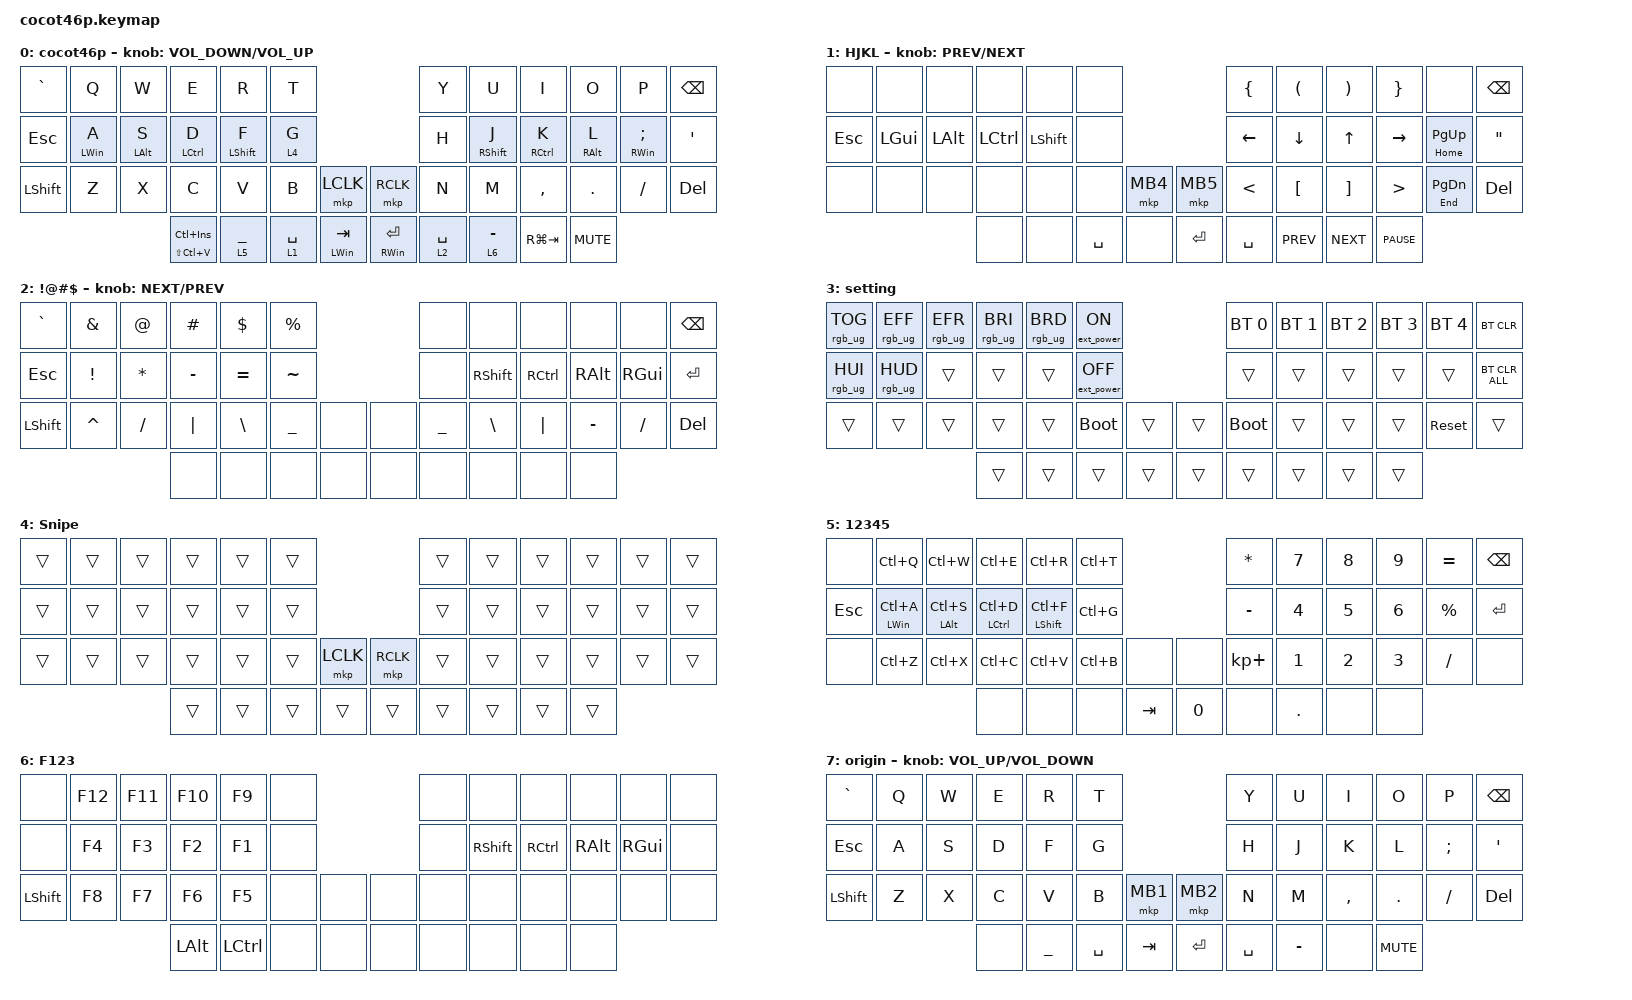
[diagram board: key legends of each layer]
/*
 * Copyright (c) 2021 The ZMK Contributors
 *
 * SPDX-License-Identifier: MIT
 */

#include <behaviors/mouse_keys.dtsi>
#include <dt-bindings/zmk/mouse.h>
#include <behaviors.dtsi>
#include <dt-bindings/zmk/bt.h>
#include <dt-bindings/zmk/ext_power.h>
#include <dt-bindings/zmk/keys.h>
#include <dt-bindings/zmk/pointing.h>
#include <dt-bindings/zmk/rgb.h>

&lt { tapping-term-ms = <150>; };

/ {
    combos {
        compatible = "zmk,combos";

        combo_setting {
            bindings = <&tog 3>;
            key-positions = <37 36 25 24>;
        };

        combo_ctrl_space {
            bindings = <&kp LC(F9)>;
            key-positions = <40 43>;
            layers = <0>;
        };

        combo_f8 {
            bindings = <&kp F8>;
            key-positions = <41 42>;
            layers = <0>;
        };

        combo_colon {
            bindings = <&kp COLON>;
            key-positions = <16 22>;
            layers = <0>;
        };

        combo_left_bracket_quotation {
            bindings = <&macro_bracket_and_quotation>;
            key-positions = <14 16>;
            layers = <0>;
            timeout-ms = <50>;
        };

        combo_quotation_right_bracket {
            bindings = <&macro_quotation_and_bracket>;
            key-positions = <19 21>;
            layers = <0>;
            timeout-ms = <50>;
        };

        combo_arraw {
            bindings = <&macro_arraw>;
            key-positions = <16 15>;
            layers = <2>;
            timeout-ms = <50>;
        };

        combo_arraw_eq {
            bindings = <&macro_arraw_eq>;
            key-positions = <4 3>;
            layers = <2>;
            timeout-ms = <50>;
        };

        combo_alt_shift_f8 {
            bindings = <&kp LS(LA(F8))>;
            key-positions = <26 27 28>;
            layers = <0>;
        };

        combo_alt_shift_f9 {
            bindings = <&kp LA(LS(F9))>;
            key-positions = <2 3 4>;
            layers = <0>;
        };

        combo_middle_click {
            bindings = <&mkp MCLK>;
            key-positions = <31 30>;
            layers = <0 1 4 7>;
        };

        combo_s_e {
            bindings = <&macro_se>;
            key-positions = <14 3>;
            layers = <0>;
        };

        combo_l_i {
            bindings = <&macro_li>;
            key-positions = <21 8>;
            layers = <0>;
        };

        combo_fj {
            bindings = <&kp LS(SPACE)>;
            key-positions = <16 19>;
            layers = <0>;
        };

        combo_ctrl_f6 {
            bindings = <&kp LC(F6)>;
            key-positions = <39 44>;
            layers = <0>;
        };

        combo_d_space {
            bindings = <&macro_d_space>;
            key-positions = <15 40>;
            layers = <0>;
        };

        combo_enter {
            bindings = <&kp ENTER>;
            key-positions = <16 15 14>;
            layers = <0>;
        };

        combo_eq {
            bindings = <&kp EQUAL>;
            key-positions = <43 16>;
            layers = <0>;
            timeout-ms = <50>;
        };

        combo_dollar {
            bindings = <&kp DOLLAR>;
            key-positions = <43 4>;
            layers = <0>;
            timeout-ms = <250>;
        };

        combo_to_origin {
            bindings = <&to 7>;
            key-positions = <38 45>;
            layers = <0>;
        };

        combo_to_qwerty {
            bindings = <&to 0>;
            key-positions = <38 45>;
            layers = <7>;
        };

        combo_ctrl_enter {
            bindings = <&kp LC(ENTER)>;
            key-positions = <16 15 14>;
            layers = <5>;
        };
    };

    behaviors {
        hm: homerow_mods {
            compatible = "zmk,behavior-hold-tap";
            label = "HOMEROW_MODS";
            bindings = <&kp>, <&kp>;

            #binding-cells = <2>;
            tapping-term-ms = <150>;
            quick-tap-ms = <250>;
            flavor = "tap-preferred";
        };

        ltq: ltq {
            compatible = "zmk,behavior-hold-tap";
            label = "LTQ";
            bindings = <&mo>, <&kp>;

            #binding-cells = <2>;
            tapping-term-ms = <200>;
            quick-tap-ms = <180>;
        };

        as: auto_shift {
            compatible = "zmk,behavior-hold-tap";
            label = "AUTO_SHIFT";
            bindings = <&kp>, <&kp>;

            #binding-cells = <2>;
            tapping-term-ms = <135>;
            quick-tap-ms = <0>;
        };
    };

    macros {
        macro_bracket_and_quotation: macro_bracket_and_quotation {
            compatible = "zmk,behavior-macro";
            #binding-cells = <0>;
            bindings = <&kp LEFT_BRACKET &kp SQT>;
            label = "MACRO_BRACKET_AND_QUOTATION";
        };

        macro_quotation_and_bracket: macro_quotation_and_bracket {
            compatible = "zmk,behavior-macro";
            #binding-cells = <0>;
            bindings = <&kp SQT &kp RIGHT_BRACKET>;
            label = "MACRO_QUOTATION_AND_BRACKET";
        };

        macro_arraw: macro_arraw {
            compatible = "zmk,behavior-macro";
            #binding-cells = <0>;
            bindings = <&kp MINUS &kp GREATER_THAN>;
            label = "MACRO_ARRAW";
        };

        macro_arraw_eq: macro_arraw_eq {
            compatible = "zmk,behavior-macro";
            #binding-cells = <0>;
            bindings = <&kp EQUAL &kp GREATER_THAN>;
            label = "MACRO_ARRAW_EQ";
        };

        macro_se: macro_se {
            compatible = "zmk,behavior-macro";
            #binding-cells = <0>;
            bindings = <&kp S &kp E>;
            label = "MACRO_SE";
        };

        macro_li: macro_li {
            compatible = "zmk,behavior-macro";
            #binding-cells = <0>;
            bindings = <&kp L &kp I>;
            label = "MACRO_LI";
        };

        macro_d_space: macro_d_space {
            compatible = "zmk,behavior-macro";
            #binding-cells = <0>;
            bindings = <&kp D &kp SPACE>;
            label = "MACRO_D_SPACE";
        };
    };

    keymap {
        compatible = "zmk,keymap";

        qwerty {
            bindings = <
&kp GRAVE       &kp Q           &kp W           &kp E                     &kp R             &kp T                                               &kp Y        &kp U              &kp I        &kp O            &kp P               &kp BSPC
&kp ESC         &hm LEFT_WIN A  &hm LEFT_ALT S  &hm LCTRL D               &hm LEFT_SHIFT F  &lt 4 G                                             &kp H        &hm RIGHT_SHIFT J  &hm RCTRL K  &hm RIGHT_ALT L  &hm RIGHT_WIN SEMI  &kp SQT
&kp LEFT_SHIFT  &kp Z           &kp X           &kp C                     &kp V             &kp B        &mkp LCLK         &mkp RCLK            &kp N        &kp M              &kp COMMA    &kp DOT          &kp SLASH           &kp DELETE
                                                &mt LS(LC(V)) LC(INSERT)  &lt 5 UNDERSCORE  &lt 1 SPACE  &mt LEFT_WIN TAB  &mt RIGHT_WIN ENTER  &lt 2 SPACE  &lt 6 MINUS        &kp RG(TAB)  &kp C_MUTE
            >;

            sensor-bindings = <&inc_dec_kp C_VOLUME_DOWN C_VOLUME_UP>;
            label = "cocot46p";
        };

        guide {
            bindings = <
&none    &none     &none     &none      &none      &none                           &kp LEFT_BRACE  &kp LEFT_PARENTHESIS  &kp RIGHT_PARENTHESIS  &kp RIGHT_BRACE   &none              &kp BACKSPACE
&kp ESC  &kp LGUI  &kp LALT  &kp LCTRL  &kp LSHFT  &none                           &kp LEFT_ARROW  &kp DOWN_ARROW        &kp UP_ARROW           &kp RIGHT_ARROW   &mt HOME PAGE_UP   &kp DOUBLE_QUOTES
&none    &none     &none     &none      &none      &none      &mkp MB4  &mkp MB5   &kp LESS_THAN   &kp LBKT              &kp RBKT               &kp GREATER_THAN  &mt END PAGE_DOWN  &kp DEL
                             &none      &none      &kp SPACE  &none     &kp ENTER  &kp SPACE       &kp C_PREV            &kp C_NEXT             &kp C_PAUSE
            >;

            label = "HJKL";
            sensor-bindings = <&inc_dec_kp C_PREV C_NEXT>;
        };

        symbols {
            bindings = <
&kp GRAVE  &kp AMPERSAND    &kp AT_SIGN   &kp POUND  &kp DOLLAR  &kp PERCENT                   &none           &none      &none      &none      &none     &kp BSPC
&kp ESC    &kp EXCLAMATION  &kp ASTERISK  &kp MINUS  &kp EQUAL   &kp TILDE                     &none           &kp RSHFT  &kp RCTRL  &kp RALT   &kp RGUI  &kp ENTER
&kp LSHFT  &kp CARET        &kp FSLH      &kp PIPE   &kp BSLH    &kp UNDERSCORE  &none  &none  &kp UNDERSCORE  &kp BSLH   &kp PIPE   &kp MINUS  &kp FSLH  &kp DEL
                                          &none      &none       &none           &none  &none  &none           &none      &none      &none
            >;

            label = "!@#$";
            sensor-bindings = <&inc_dec_kp C_NEXT C_PREV>;
        };

        Setting {
            bindings = <
&rgb_ug RGB_TOG  &rgb_ug RGB_EFF  &rgb_ug RGB_EFR  &rgb_ug RGB_BRI  &rgb_ug RGB_BRD  &ext_power EP_ON                   &bt BT_SEL 0  &bt BT_SEL 1  &bt BT_SEL 2  &bt BT_SEL 3  &bt BT_SEL 4  &bt BT_CLR
&rgb_ug RGB_HUI  &rgb_ug RGB_HUD  &trans           &trans           &trans           &ext_power EP_OFF                  &trans        &trans        &trans        &trans        &trans        &bt BT_CLR_ALL
&trans           &trans           &trans           &trans           &trans           &bootloader        &trans  &trans  &bootloader   &trans        &trans        &trans        &sys_reset    &trans
                                                   &trans           &trans           &trans             &trans  &trans  &trans        &trans        &trans        &trans
            >;

            label = "setting";
        };

        Snipe {
            bindings = <
&trans  &trans  &trans  &trans  &trans  &trans                        &trans  &trans  &trans  &trans  &trans  &trans
&trans  &trans  &trans  &trans  &trans  &trans                        &trans  &trans  &trans  &trans  &trans  &trans
&trans  &trans  &trans  &trans  &trans  &trans  &mkp LCLK  &mkp RCLK  &trans  &trans  &trans  &trans  &trans  &trans
                        &trans  &trans  &trans  &trans     &trans     &trans  &trans  &trans  &trans
            >;

            label = "Snipe";
        };

        number {
            bindings = <
&none    &kp LC(Q)           &kp LC(W)           &kp LC(E)        &kp LC(R)             &kp LC(T)                   &kp ASTERISK  &kp N7   &kp N8  &kp N9  &kp EQUAL    &kp BSPC
&kp ESC  &hm LEFT_WIN LC(A)  &hm LEFT_ALT LC(S)  &hm LCTRL LC(D)  &hm LEFT_SHIFT LC(F)  &kp LC(G)                   &kp MINUS     &kp N4   &kp N5  &kp N6  &kp PERCENT  &kp ENTER
&none    &kp LC(Z)           &kp LC(X)           &kp LC(C)        &kp LC(V)             &kp LC(B)  &none    &none   &kp KP_PLUS   &kp N1   &kp N2  &kp N3  &kp FSLH     &none
                                                 &none            &none                 &none      &kp TAB  &kp N0  &none         &kp DOT  &none   &none
            >;

            label = "12345";
        };

        fn {
            bindings = <
&none      &kp F12  &kp F11  &kp F10   &kp F9     &none                &none  &none      &none      &none     &none     &none
&none      &kp F4   &kp F3   &kp F2    &kp F1     &none                &none  &kp RSHFT  &kp RCTRL  &kp RALT  &kp RGUI  &none
&kp LSHFT  &kp F8   &kp F7   &kp F6    &kp F5     &none  &none  &none  &none  &none      &none      &none     &none     &none
                             &kp LALT  &kp LCTRL  &none  &none  &none  &none  &none      &none      &none
            >;

            label = "F123";
        };

        origin {
            bindings = <
&kp GRAVE  &kp Q  &kp W  &kp E  &kp R           &kp T                           &kp Y      &kp U      &kp I      &kp O       &kp P     &kp BSPC
&kp ESC    &kp A  &kp S  &kp D  &kp F           &kp G                           &kp H      &kp J      &kp K      &kp L       &kp SEMI  &kp APOS
&kp LSHFT  &kp Z  &kp X  &kp C  &kp V           &kp B      &mkp MB1  &mkp MB2   &kp N      &kp M      &kp COMMA  &kp DOT     &kp FSLH  &kp DELETE
                         &none  &kp UNDERSCORE  &kp SPACE  &kp TAB   &kp ENTER  &kp SPACE  &kp MINUS  &none      &kp C_MUTE
            >;

            sensor-bindings = <&inc_dec_kp C_VOLUME_UP C_VOLUME_DOWN>;
            label = "origin";
        };
    };
};
